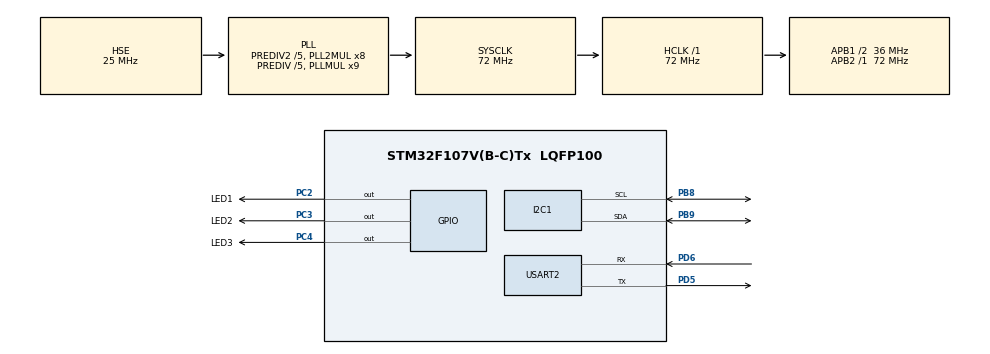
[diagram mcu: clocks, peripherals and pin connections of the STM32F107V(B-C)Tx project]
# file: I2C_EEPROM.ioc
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I2C1.GeneralCallMode=I2C_GENERALCALL_DISABLE
I2C1.I2C_Mode=I2C_Standard
I2C1.NoStretchMode=I2C_NOSTRETCH_DISABLE
Mcu.Family=STM32F1
Mcu.Name=STM32F107V(B-C)Tx
Mcu.Package=LQFP100
NVIC.PriorityGroup=NVIC_PRIORITYGROUP_4
OSC_IN.Mode=HSE-External-Oscillator
OSC_IN.Signal=RCC_OSC_IN
OSC_OUT.Mode=HSE-External-Oscillator
OSC_OUT.Signal=RCC_OSC_OUT
PA13.Mode=Serial_Wire
PA13.Signal=SYS_JTMS-SWDIO
PA14.Mode=Serial_Wire
PA14.Signal=SYS_JTCK-SWCLK
PB8.Mode=I2C
PB8.Signal=I2C1_SCL
PB9.Mode=I2C
PB9.Signal=I2C1_SDA
PC2.GPIO_Label=LED1
PC2.Signal=GPIO_Output
PC3.GPIO_Label=LED2
PC3.Signal=GPIO_Output
PC4.GPIO_Label=LED3
PC4.Signal=GPIO_Output
PD5.Mode=Asynchronous
PD5.Signal=USART2_TX
PD6.Mode=Asynchronous
PD6.Signal=USART2_RX
ProjectManager.HeapSize=0x200
ProjectManager.StackSize=0x1000
ProjectManager.TargetToolchain=MDK-ARM V5
RCC.AHBFreq_Value=72000000
RCC.APB1CLKDivider=RCC_HCLK_DIV2
RCC.APB1Freq_Value=36000000
RCC.APB1TimFreq_Value=72000000
RCC.APB2Freq_Value=72000000
RCC.APB2TimFreq_Value=72000000
RCC.HCLKFreq_Value=72000000
RCC.HSEDivPLL=RCC_HSE_PREDIV_DIV5
RCC.HSE_VALUE=25000000
RCC.PLLMUL=RCC_PLL_MUL9
RCC.PLLSourceVirtual=RCC_PLLSOURCE_HSE
RCC.Prediv1Source=RCC_PREDIV1_SOURCE_PLL2
RCC.Prediv2=RCC_HSE_PREDIV2_DIV5
RCC.SYSCLKFreq_VALUE=72000000
RCC.SYSCLKSource=RCC_SYSCLKSOURCE_PLLCLK
RCC.USBFreq_Value=48000000
USART2.VirtualMode=VM_ASYNC
board=I2C_EEPROM

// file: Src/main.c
/**
  ******************************************************************************
  * @file           : main.c
  * @brief          : Main program body
  ******************************************************************************
  ** This notice applies to any and all portions of this file
  * that are not between comment pairs USER CODE BEGIN and
  * USER CODE END. Other portions of this file, whether
  * inserted by the user or by software development tools
  * are owned by their respective copyright owners.
  *
  * COPYRIGHT(c) 2018 STMicroelectronics
  *
  * Redistribution and use in source and binary forms, with or without modification,
  * are permitted provided that the following conditions are met:
  *   1. Redistributions of source code must retain the above copyright notice,
  *      this list of conditions and the following disclaimer.
  *   2. Redistributions in binary form must reproduce the above copyright notice,
  *      this list of conditions and the following disclaimer in the documentation
  *      and/or other materials provided with the distribution.
  *   3. Neither the name of STMicroelectronics nor the names of its contributors
  *      may be used to endorse or promote products derived from this software
  *      without specific prior written permission.
  *
  * THIS SOFTWARE IS PROVIDED BY THE COPYRIGHT HOLDERS AND CONTRIBUTORS "AS IS"
  * AND ANY EXPRESS OR IMPLIED WARRANTIES, INCLUDING, BUT NOT LIMITED TO, THE
  * IMPLIED WARRANTIES OF MERCHANTABILITY AND FITNESS FOR A PARTICULAR PURPOSE ARE
  * DISCLAIMED. IN NO EVENT SHALL THE COPYRIGHT HOLDER OR CONTRIBUTORS BE LIABLE
  * FOR ANY DIRECT, INDIRECT, INCIDENTAL, SPECIAL, EXEMPLARY, OR CONSEQUENTIAL
  * DAMAGES (INCLUDING, BUT NOT LIMITED TO, PROCUREMENT OF SUBSTITUTE GOODS OR
  * SERVICES; LOSS OF USE, DATA, OR PROFITS; OR BUSINESS INTERRUPTION) HOWEVER
  * CAUSED AND ON ANY THEORY OF LIABILITY, WHETHER IN CONTRACT, STRICT LIABILITY,
  * OR TORT (INCLUDING NEGLIGENCE OR OTHERWISE) ARISING IN ANY WAY OUT OF THE USE
  * OF THIS SOFTWARE, EVEN IF ADVISED OF THE POSSIBILITY OF SUCH DAMAGE.
  *
  ******************************************************************************
  */
#include "main.h"
#include "stm32f1xx_hal.h"

I2C_HandleTypeDef hi2c1;

UART_HandleTypeDef huart2;

/* USER CODE BEGIN PV */
/* Private variables ---------------------------------------------------------*/

/* USER CODE END PV */

void SystemClock_Config(void);
static void MX_GPIO_Init(void);
static void MX_I2C1_Init(void);
static void MX_USART2_UART_Init(void);

/* USER CODE BEGIN PFP */
/* Private function prototypes -----------------------------------------------*/

/* USER CODE END PFP */

int main(void)
{
  /* USER CODE BEGIN 1 */
    int i = 0;
    unsigned char Write_Data[256];
    unsigned char Read_Data[256];
    char str[100];
  /* USER CODE END 1 */

  /* MCU Configuration----------------------------------------------------------*/

  /* Reset of all peripherals, Initializes the Flash interface and the Systick. */
  HAL_Init();

  /* Configure the system clock */
  SystemClock_Config();

  /* Initialize all configured peripherals */
  MX_GPIO_Init();
  MX_I2C1_Init();
  MX_USART2_UART_Init();
  /* USER CODE BEGIN 2 */
    memset(Write_Data,0xAA,256);
    memset(Read_Data,0xAA,256);

    if(HAL_I2C_IsDeviceReady(&hi2c1,0xA0,1,1000) != HAL_OK)
    {
        HAL_GPIO_WritePin(LED1_GPIO_Port,LED1_Pin,GPIO_PIN_SET);
        while(1);
    }

    HAL_GPIO_WritePin(LED2_GPIO_Port,LED2_Pin,GPIO_PIN_SET);

    for(i = 0; i < 256; i++)
        Write_Data[i] = i;

    HAL_Delay(1000);
    if(HAL_I2C_Mem_Write(&hi2c1,0xA0,0,1,Write_Data,10,1000) != HAL_OK)
    {
        HAL_GPIO_WritePin(LED3_GPIO_Port,LED3_Pin,GPIO_PIN_SET);
        sprintf(str,"\r\nWrite Error");
        HAL_UART_Transmit(&huart2,str,strlen(str),1000);
        while(1);
    }
    sprintf(str,"\r\n======================================");
    HAL_UART_Transmit(&huart2,str,strlen(str),1000);

    for(i = 0; i < 10; i++)
    {
        sprintf(str,"\r\nRead_Data[%03d] = %03d",i,Read_Data[i]);
        HAL_UART_Transmit(&huart2,str,strlen(str),1000);
    }

    sprintf(str,"\r\n======================================");
    HAL_UART_Transmit(&huart2,str,strlen(str),1000);

    HAL_Delay(1000);
    if(HAL_I2C_Mem_Read(&hi2c1,0xA0,0,1,Read_Data,10,1000) != HAL_OK)
    {
        HAL_GPIO_WritePin(LED3_GPIO_Port,LED3_Pin,GPIO_PIN_SET);
        sprintf(str,"\r\nRead Error");
        HAL_UART_Transmit(&huart2,str,strlen(str),1000);
        while(1);
    }

    for(i = 0; i < 10; i++)
    {
        sprintf(str,"\r\nRead_Data[%03d] = %03d",i,Read_Data[i]);
        HAL_UART_Transmit(&huart2,str,strlen(str),1000);
    }

    sprintf(str,"\r\n======================================");
    HAL_UART_Transmit(&huart2,str,strlen(str),1000);
  /* USER CODE END 2 */

  /* Infinite loop */
  while (1)
  {

  }

}

void SystemClock_Config(void)
{

  RCC_OscInitTypeDef RCC_OscInitStruct;
  RCC_ClkInitTypeDef RCC_ClkInitStruct;

    /**Initializes the CPU, AHB and APB busses clocks
    */
  RCC_OscInitStruct.OscillatorType = RCC_OSCILLATORTYPE_HSE;
  RCC_OscInitStruct.HSEState = RCC_HSE_ON;
  RCC_OscInitStruct.HSEPredivValue = RCC_HSE_PREDIV_DIV5;
  RCC_OscInitStruct.HSIState = RCC_HSI_ON;
  RCC_OscInitStruct.Prediv1Source = RCC_PREDIV1_SOURCE_PLL2;
  RCC_OscInitStruct.PLL.PLLState = RCC_PLL_ON;
  RCC_OscInitStruct.PLL.PLLSource = RCC_PLLSOURCE_HSE;
  RCC_OscInitStruct.PLL.PLLMUL = RCC_PLL_MUL9;
  RCC_OscInitStruct.PLL2.PLL2State = RCC_PLL2_ON;
  RCC_OscInitStruct.PLL2.PLL2MUL = RCC_PLL2_MUL8;
  RCC_OscInitStruct.PLL2.HSEPrediv2Value = RCC_HSE_PREDIV2_DIV5;
  if (HAL_RCC_OscConfig(&RCC_OscInitStruct) != HAL_OK)
  {
    _Error_Handler(__FILE__, __LINE__);
  }

    /**Initializes the CPU, AHB and APB busses clocks
    */
  RCC_ClkInitStruct.ClockType = RCC_CLOCKTYPE_HCLK|RCC_CLOCKTYPE_SYSCLK
                              |RCC_CLOCKTYPE_PCLK1|RCC_CLOCKTYPE_PCLK2;
  RCC_ClkInitStruct.SYSCLKSource = RCC_SYSCLKSOURCE_PLLCLK;
  RCC_ClkInitStruct.AHBCLKDivider = RCC_SYSCLK_DIV1;
  RCC_ClkInitStruct.APB1CLKDivider = RCC_HCLK_DIV2;
  RCC_ClkInitStruct.APB2CLKDivider = RCC_HCLK_DIV1;

  if (HAL_RCC_ClockConfig(&RCC_ClkInitStruct, FLASH_LATENCY_2) != HAL_OK)
  {
    _Error_Handler(__FILE__, __LINE__);
  }

    /**Configure the Systick interrupt time
    */
  HAL_SYSTICK_Config(HAL_RCC_GetHCLKFreq()/1000);

    /**Configure the Systick
    */
  HAL_SYSTICK_CLKSourceConfig(SYSTICK_CLKSOURCE_HCLK);

    /**Configure the Systick interrupt time
    */
  __HAL_RCC_PLLI2S_ENABLE();

  /* SysTick_IRQn interrupt configuration */
  HAL_NVIC_SetPriority(SysTick_IRQn, 0, 0);
}

/* I2C1 init function */
static void MX_I2C1_Init(void)
{

  hi2c1.Instance = I2C1;
  hi2c1.Init.ClockSpeed = 100000;
  hi2c1.Init.DutyCycle = I2C_DUTYCYCLE_2;
  hi2c1.Init.OwnAddress1 = 0;
  hi2c1.Init.AddressingMode = I2C_ADDRESSINGMODE_7BIT;
  hi2c1.Init.DualAddressMode = I2C_DUALADDRESS_DISABLE;
  hi2c1.Init.OwnAddress2 = 0;
  hi2c1.Init.GeneralCallMode = I2C_GENERALCALL_DISABLE;
  hi2c1.Init.NoStretchMode = I2C_NOSTRETCH_DISABLE;
  if (HAL_I2C_Init(&hi2c1) != HAL_OK)
  {
    _Error_Handler(__FILE__, __LINE__);
  }

}

/* USART2 init function */
static void MX_USART2_UART_Init(void)
{

  huart2.Instance = USART2;
  huart2.Init.BaudRate = 115200;
  huart2.Init.WordLength = UART_WORDLENGTH_8B;
  huart2.Init.StopBits = UART_STOPBITS_1;
  huart2.Init.Parity = UART_PARITY_NONE;
  huart2.Init.Mode = UART_MODE_TX_RX;
  huart2.Init.HwFlowCtl = UART_HWCONTROL_NONE;
  huart2.Init.OverSampling = UART_OVERSAMPLING_16;
  if (HAL_UART_Init(&huart2) != HAL_OK)
  {
    _Error_Handler(__FILE__, __LINE__);
  }

}

/** Configure pins as
        * Analog
        * Input
        * Output
        * EVENT_OUT
        * EXTI
*/
static void MX_GPIO_Init(void)
{

  GPIO_InitTypeDef GPIO_InitStruct;

  /* GPIO Ports Clock Enable */
  __HAL_RCC_GPIOC_CLK_ENABLE();
  __HAL_RCC_GPIOA_CLK_ENABLE();
  __HAL_RCC_GPIOD_CLK_ENABLE();
  __HAL_RCC_GPIOB_CLK_ENABLE();

  /*Configure GPIO pin Output Level */
  HAL_GPIO_WritePin(GPIOC, LED1_Pin|LED2_Pin|LED3_Pin, GPIO_PIN_RESET);

  /*Configure GPIO pins : LED1_Pin LED2_Pin LED3_Pin */
  GPIO_InitStruct.Pin = LED1_Pin|LED2_Pin|LED3_Pin;
  GPIO_InitStruct.Mode = GPIO_MODE_OUTPUT_PP;
  GPIO_InitStruct.Speed = GPIO_SPEED_FREQ_LOW;
  HAL_GPIO_Init(GPIOC, &GPIO_InitStruct);

}

void _Error_Handler(char *file, int line)
{
  while(1)
  {
  }
}

/************************ (C) COPYRIGHT STMicroelectronics *****END OF FILE****/
